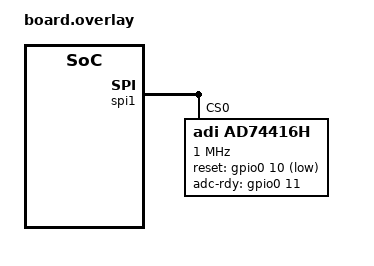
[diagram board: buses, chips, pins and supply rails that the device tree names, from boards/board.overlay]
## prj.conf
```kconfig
CONFIG_SPI=y
CONFIG_SENSOR=y
CONFIG_DAC=y
CONFIG_GPIO=y
CONFIG_AD74416H=y
CONFIG_CBPRINTF_FP_SUPPORT=y
```

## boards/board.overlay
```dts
&spi1 {
    status = "okay";
    ad74416h@0 {
        compatible = "adi,ad74416h";
        reg = <0>;
        spi-max-frequency = <1000000>;
        
        /* Hardware Pins */
        reset-gpios = <&gpio0 10 GPIO_ACTIVE_LOW>;
        adc-rdy-gpios = <&gpio0 11 GPIO_ACTIVE_HIGH>;
        
        /* Driver Features */
        adi,adaptive-power;
        adi,wdt-timeout-ms = <1000>;
        
        status = "okay";
    };
};
```

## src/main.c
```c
/*
 * Copyright (c) 2026 William Fish (Manulytica ltd)
 *
 * SPDX-License-Identifier: Apache-2.0
 */

#include <zephyr/kernel.h>
#include <zephyr/device.h>
#include <zephyr/drivers/sensor.h>
#include <zephyr/drivers/dac.h>
#include <zephyr/drivers/gpio.h>
#include <zephyr/sys/printk.h>

int main(void)
{
	const struct device *dev = DEVICE_DT_GET_ANY(adi_ad74416h);

	if (dev == NULL) {
		printk("Error: No AD74416H device found.\n");
		return -ENODEV;
	}

	if (!device_is_ready(dev)) {
		printk("Error: Device %s is not ready.\n", dev->name);
		return -ENODEV;
	}

	printk("AD74416H Multi-Function Sample Started\n");

	/* 1. Configure GPIO (Channel 3 as Digital Input) */
	/* Note: The driver uses the same device pointer for all APIs */
	int ret = gpio_pin_configure(dev, 3, GPIO_INPUT);
	if (ret < 0) {
		printk("GPIO Config failed: %d\n", ret);
	}

	/* 2. Configure DAC (Channel 0 as Voltage Output) */
	struct dac_channel_cfg dac_cfg = {
		.channel_id = 0,
		.resolution = 16
	};
	dac_channel_setup(dev, &dac_cfg);

	/* Set CH0 to ~5.0V (0x6AAA in 0-12V range) */
	dac_write_value(dev, 0, 0x6AAA);

	while (1) {
		struct sensor_value voltage_in;
		struct sensor_value temp_in;
		int digital_in;

		/* 3. Fetch all Analog Samples (Trigger ADC Sequencer) */
		ret = sensor_sample_fetch(dev);
		if (ret < 0) {
			printk("Sensor fetch failed: %d\n", ret);
			continue;
		}

		/* 4. Read Voltage Input (Channel 1) */
		sensor_channel_get(dev, SENSOR_CHAN_VOLTAGE, &voltage_in);

		/* 5. Read RTD Temperature (Channel 2) */
		/* The driver performs Callendar-Van Dusen math internally */
		sensor_channel_get(dev, SENSOR_CHAN_AMBIENT_TEMP, &temp_in);

		/* 6. Read Digital Input (Channel 3) */
		digital_in = gpio_pin_get(dev, 3);

		/* Output Results */
		printk("--- AD74416H Status ---\n");
		printk("CH0 (Out): 5.00 V\n");
		printk("CH1 (In):  %d.%06d V\n", voltage_in.val1, voltage_in.val2);
		printk("CH2 (RTD): %d.%02d C\n", temp_in.val1, temp_in.val2);
		printk("CH3 (DIN): %s\n", digital_in ? "HIGH" : "LOW");

		k_sleep(K_MSEC(2000));
	}
	return 0;
}
```
